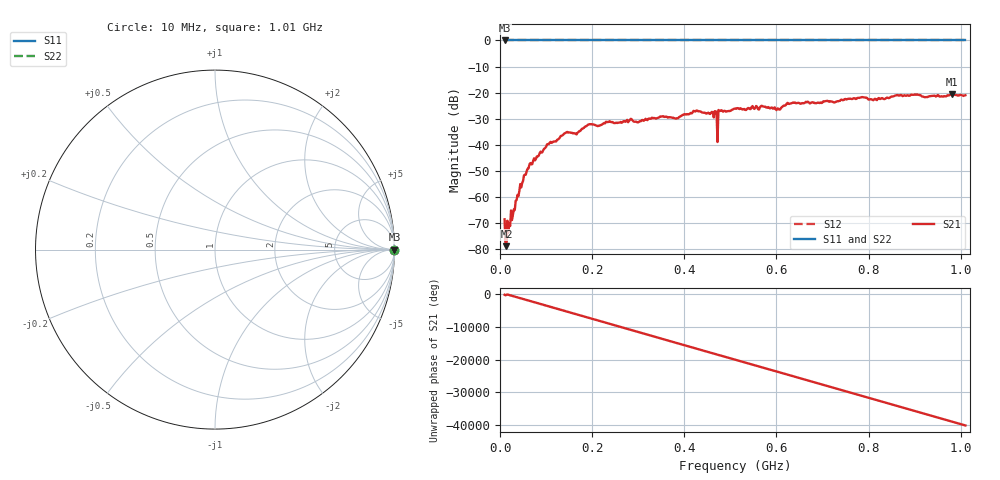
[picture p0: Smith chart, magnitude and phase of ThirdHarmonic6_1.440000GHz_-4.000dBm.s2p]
! 8/16/2025 4:38:35 PM
! C:\ANRITSUVNA\TEMP\TEMP.S2P
! CHANNEL.1
! TR.MEASUREMENT
! RAW.DATA
! RF.CORRECTION.OFF
! AVERAGING.OFF
! IF.BANDWIDTH: 5KHZ
! SWEEPTYPE:  FREQ.SWEEP(Linear)
! Reference Plane Port Info
! PORT:  PORT1  PORT2
! DISTANCE:  0  m  0  m
! TIME:  0  s  0  s
! PHASE.OFFSET:  0  deg.  0  deg.
! LOSS:  0  dB  0  dB
! REF.LOSS:  0  dB  0  dB
! REF.FREQ:  0  Hz  0  Hz
! Power Info
! POWER:  -20  dBm  -20  dBm
! EFF.POWER:  -20  dBm  -20  dBm
! SOURCE.ATTEN:  0  dB  0  dB
! TEST.ATTEN:  0  dB  0  dB
# GHZ S RI R 50.0
! FREQ.GHZ  S11RE  S11IM  S21RE  S21IM  S12RE  S12IM  S22RE  S22IM
!; PortSelection: Port_12
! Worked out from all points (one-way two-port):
!   501 points, 10 MHz to 1.01 GHz, reference 50 ohm
!   highest |S21| = -20.56 dB at 980 MHz (marker M1); lowest = -78.8 dB at 14 MHz (marker M2)
!   lowest |S11| = 0.0 dB at 10 MHz (marker M3)
!   |S11| at or under -10 dB: nowhere
!   |S22| runs from 0.0 to 0.0 dB; largest |S21 - S12| = 1.1
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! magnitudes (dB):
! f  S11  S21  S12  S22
! 10 MHz  0.0  -68.6  0.0  0.0
! 14 MHz  0.0  -78.8  0.0  0.0
! 16 MHz  0.0  -69.1  0.0  0.0
! 20 MHz  0.0  -70.2  0.0  0.0
! 48 MHz  0.0  -54.7  0.0  0.0
! 64 MHz  0.0  -47.4  0.0  0.0
! 106 MHz  0.0  -39.7  0.0  0.0
! 178 MHz  0.0  -33.8  0.0  0.0
! 344 MHz  0.0  -29.6  0.0  0.0
! 384 MHz  0.0  -29.8  0.0  0.0
! 424 MHz  0.0  -27.2  0.0  0.0
! 466 MHz  0.0  -27.1  0.0  0.0
! 468 MHz  0.0  -27.2  0.0  0.0
! 476 MHz  0.0  -27.0  0.0  0.0
! 478 MHz  0.0  -27.0  0.0  0.0
! 510 MHz  0.0  -26.1  0.0  0.0
! 604 MHz  0.0  -26.2  0.0  0.0
! 626 MHz  0.0  -24.3  0.0  0.0
! 678 MHz  0.0  -23.7  0.0  0.0
! 844 MHz  0.0  -22.1  0.0  0.0
! 980 MHz  0.0  -20.6  0.0  0.0
! 1.01 GHz  0.0  -21.0  0.0  0.0
